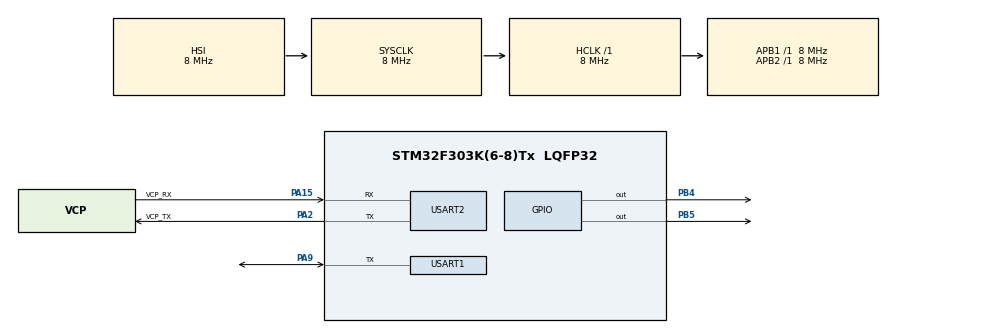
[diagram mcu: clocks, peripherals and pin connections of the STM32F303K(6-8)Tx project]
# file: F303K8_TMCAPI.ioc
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Mcu.Family=STM32F3
Mcu.Name=STM32F303K(6-8)Tx
Mcu.Package=LQFP32
NVIC.PriorityGroup=NVIC_PRIORITYGROUP_4
PA13.GPIO_Label=SWDIO
PA13.Mode=Serial_Wire
PA13.Signal=SYS_JTMS-SWDIO
PA14.GPIO_Label=SWCLK
PA14.Mode=Serial_Wire
PA14.Signal=SYS_JTCK-SWCLK
PA15.GPIO_Label=VCP_RX
PA15.Mode=Asynchronous
PA15.Signal=USART2_RX
PA2.GPIO_Label=VCP_TX
PA2.Mode=Asynchronous
PA2.Signal=USART2_TX
PA9.Mode=Half_duplex(single_wire_mode)
PA9.Signal=USART1_TX
PB4.Signal=GPIO_Output
PB5.Signal=GPIO_Output
PF0\ /\ OSC_IN.GPIO_Label=MCO
PF0\ /\ OSC_IN.Mode=HSE-External-Clock-Source
PF0\ /\ OSC_IN.Signal=RCC_OSC_IN
ProjectManager.HeapSize=0x200
ProjectManager.StackSize=0x400
ProjectManager.TargetToolchain=STM32CubeIDE
RCC.AHBFreq_Value=8000000
RCC.APB1Freq_Value=8000000
RCC.APB2Freq_Value=8000000
RCC.CortexFreq_Value=8000000
RCC.HSE_VALUE=8000000
RCC.HSI_VALUE=8000000
RCC.SYSCLKFreq_VALUE=8000000
USART1.VirtualMode-Half_duplex(single_wire_mode)=VM_ASYNC
USART2.VirtualMode-Asynchronous=VM_ASYNC
board=NUCLEO-F303K8

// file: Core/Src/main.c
/* USER CODE BEGIN Header */
/**
  ******************************************************************************
  * @file           : main.c
  * @brief          : Main program body
  ******************************************************************************
  * @attention
  *
  * Copyright (c) 2022 STMicroelectronics.
  * All rights reserved.
  *
  * This software is licensed under terms that can be found in the LICENSE file
  * in the root directory of this software component.
  * If no LICENSE file comes with this software, it is provided AS-IS.
  *
  ******************************************************************************
  */
/* USER CODE END Header */
#include "main.h"

/* USER CODE BEGIN Includes */
#include <stdio.h>
#include "tmc/ic/TMC2209/TMC2209.h"
/* USER CODE END Includes */

/* USER CODE BEGIN PTD */
#define TMC2209_CRC(data, length) tmc_CRC8(data, length, 1)

/* USER CODE END PTD */

 UART_HandleTypeDef huart1;
UART_HandleTypeDef huart2;

/* USER CODE BEGIN PV */
TMC2209TypeDef TMC2209; //TMC2209の設定などの定義
ConfigurationTypeDef TMC2209_config; //TMC2209の設定
/* USER CODE END PV */

void SystemClock_Config(void);
static void MX_GPIO_Init(void);
static void MX_USART2_UART_Init(void);
static void MX_USART1_UART_Init(void);
/* USER CODE BEGIN PFP */
static void periodicJob(uint32_t tick);
static uint8_t reset(void);
static uint8_t restore(void);
void TMC2209_INIT(void){
	StepDir_setPins(0, Pins.STEP, Pins.DIR, Pins.DIAG);
}
/* USER CODE END PFP */

/* USER CODE BEGIN 0 */
{
	//set your uart read write
	//UART_readWrite(channelToUART(channel), data, writeLength, readLength);
	HAL_HalfDuplex_EnableTransmitter(&huart1);
	HAL_UART_Transmit(&huart1, data, writeLength,3000);

	if(readLength > 0){
		HAL_HalfDuplex_EnableReceiver(&huart1);
		HAL_UART_Receive(&huart1, data, readLength, 3000);
	}
}

uint8_t tmc2209_CRC8(uint8_t *data, size_t length)
{
	return TMC2209_CRC(data, length);
}

static void periodicJob(uint32_t tick)
{

	tmc2209_periodicJob(&TMC2209, tick);

	//StepDir_periodicJob(0);
}

static uint8_t reset()
{
	//StepDir_init(STEPDIR_PRECISION);
	//StepDir_setPins(0, Pins.STEP, Pins.DIR, Pins.DIAG);

	return tmc2209_reset(&TMC2209);
}

static uint8_t restore()
{
	return tmc2209_restore(&TMC2209);
}

void TMC2209_INIT()
{
	tmc_fillCRC8Table(0x07, true, 1);

	TMC2209_config.reset = reset;
	TMC2209_config.restore = restore;
	tmc2209_init(&TMC2209, 0, 0, &TMC2209_config, &tmc2209_defaultRegisterResetState[0]);

	//restore();
}
/* USER CODE END 0 */

int main(void)
{
  /* USER CODE BEGIN 1 */
	setbuf(stdout, NULL);
  /* USER CODE END 1 */

  /* MCU Configuration--------------------------------------------------------*/

  /* Reset of all peripherals, Initializes the Flash interface and the Systick. */
  HAL_Init();

  /* Configure the system clock */
  SystemClock_Config();

  /* Initialize all configured peripherals */
  MX_GPIO_Init();
  MX_USART2_UART_Init();
  MX_USART1_UART_Init();
  /* USER CODE BEGIN 2 */
  //int getserial=0;
    TMC2209_INIT();
    printf("Hello\r\n");

    int i;
     char rxbuf[1];
     char start[] ="1:front,2:back\r\n";
     char front[] ="front turn\r\n";
     char back[] ="back turn\r\n";
     char nonans[] ="Not Understand \r\n";

     HAL_UART_Transmit(&huart2,(uint8_t *)start,sizeof(start),3000);

  /* USER CODE END 2 */

  /* Infinite loop */
  while (1)
  {

    /* USER CODE BEGIN 3 */
	  uint32_t value = 0;
	  	  HAL_UART_Receive(&huart2,(uint8_t *)rxbuf, sizeof(rxbuf), 100);
	  	  tmc2209_writeInt(&TMC2209, TMC2209_TSTEP, 16);

	  	  value = tmc2209_readInt(&TMC2209, TMC2209_FACTORY_CONF);
	  	  //printf("Hello\r\n");
	  	  //printf("Goodbye\r\n");
	  	  periodicJob(HAL_GetTick());
	  	  //HAL_UART_Transmit(&huart2,(uint8_t *)value,sizeof(value),3000);
	  	  printf("FACTORY_CONF: %ld\r\n", value);
	  	  //HAL_UART_Transmit(&huart2,(uint8_t *)value,sizeof(value),3000);
	  	  //getserial=value;

	  	  value = tmc2209_readInt(&TMC2209, TMC2209_SG_RESULT);
	  	  //periodicJob(HAL_GetTick());
	  	  //tmc2209_writeInt(&TMC2209, );
	  	  printf("SG_RESULT: %ld\r\n", value);
	  	  tmc2209_writeInt(&TMC2209, TMC2209_TSTEP, 16);
	  	  value = tmc2209_readInt(&TMC2209, TMC2209_TSTEP);
	  	  printf("TMC2209_TSTE: %ld\r\n", value);
	  	  tmc2209_writeInt(&TMC2209, 0x22, 20000);
	  	  value = tmc2209_readInt(&TMC2209, TMC2209_VACTUAL);
	  	  printf("TMC2209_VACTUAL: %ld\r\n", value);
	  	  value = tmc2209_readInt(&TMC2209, TMC2209_CHOPCONF);
	  	  	  printf("CHOPCONF: %ld\r\n", value);
	  	  value = tmc2209_readInt(&TMC2209, TMC2209_IOIN);
	  	  	  printf("TMC2209_IOIN: %ld\r\n", value);

	  	  	  tmc2209_writeInt(&TMC2209, TMC2209_ENN_MASK, 0);
  }
  /* USER CODE END 3 */
}

void SystemClock_Config(void)
{
  RCC_OscInitTypeDef RCC_OscInitStruct = {0};
  RCC_ClkInitTypeDef RCC_ClkInitStruct = {0};
  RCC_PeriphCLKInitTypeDef PeriphClkInit = {0};

  /** Initializes the RCC Oscillators according to the specified parameters
  * in the RCC_OscInitTypeDef structure.
  */
  RCC_OscInitStruct.OscillatorType = RCC_OSCILLATORTYPE_HSI;
  RCC_OscInitStruct.HSIState = RCC_HSI_ON;
  RCC_OscInitStruct.HSICalibrationValue = RCC_HSICALIBRATION_DEFAULT;
  RCC_OscInitStruct.PLL.PLLState = RCC_PLL_NONE;
  if (HAL_RCC_OscConfig(&RCC_OscInitStruct) != HAL_OK)
  {
    Error_Handler();
  }

  /** Initializes the CPU, AHB and APB buses clocks
  */
  RCC_ClkInitStruct.ClockType = RCC_CLOCKTYPE_HCLK|RCC_CLOCKTYPE_SYSCLK
                              |RCC_CLOCKTYPE_PCLK1|RCC_CLOCKTYPE_PCLK2;
  RCC_ClkInitStruct.SYSCLKSource = RCC_SYSCLKSOURCE_HSI;
  RCC_ClkInitStruct.AHBCLKDivider = RCC_SYSCLK_DIV1;
  RCC_ClkInitStruct.APB1CLKDivider = RCC_HCLK_DIV1;
  RCC_ClkInitStruct.APB2CLKDivider = RCC_HCLK_DIV1;

  if (HAL_RCC_ClockConfig(&RCC_ClkInitStruct, FLASH_LATENCY_0) != HAL_OK)
  {
    Error_Handler();
  }
  PeriphClkInit.PeriphClockSelection = RCC_PERIPHCLK_USART1;
  PeriphClkInit.Usart1ClockSelection = RCC_USART1CLKSOURCE_PCLK1;
  if (HAL_RCCEx_PeriphCLKConfig(&PeriphClkInit) != HAL_OK)
  {
    Error_Handler();
  }
}

static void MX_USART1_UART_Init(void)
{

  huart1.Instance = USART1;
  huart1.Init.BaudRate = 38400;
  huart1.Init.WordLength = UART_WORDLENGTH_8B;
  huart1.Init.StopBits = UART_STOPBITS_1;
  huart1.Init.Parity = UART_PARITY_NONE;
  huart1.Init.Mode = UART_MODE_TX_RX;
  huart1.Init.HwFlowCtl = UART_HWCONTROL_NONE;
  huart1.Init.OverSampling = UART_OVERSAMPLING_16;
  huart1.Init.OneBitSampling = UART_ONE_BIT_SAMPLE_DISABLE;
  huart1.AdvancedInit.AdvFeatureInit = UART_ADVFEATURE_NO_INIT;
  if (HAL_HalfDuplex_Init(&huart1) != HAL_OK)
  {
    Error_Handler();
  }

}

static void MX_USART2_UART_Init(void)
{

  huart2.Instance = USART2;
  huart2.Init.BaudRate = 38400;
  huart2.Init.WordLength = UART_WORDLENGTH_8B;
  huart2.Init.StopBits = UART_STOPBITS_1;
  huart2.Init.Parity = UART_PARITY_NONE;
  huart2.Init.Mode = UART_MODE_TX_RX;
  huart2.Init.HwFlowCtl = UART_HWCONTROL_NONE;
  huart2.Init.OverSampling = UART_OVERSAMPLING_16;
  huart2.Init.OneBitSampling = UART_ONE_BIT_SAMPLE_DISABLE;
  huart2.AdvancedInit.AdvFeatureInit = UART_ADVFEATURE_NO_INIT;
  if (HAL_UART_Init(&huart2) != HAL_OK)
  {
    Error_Handler();
  }

}

static void MX_GPIO_Init(void)
{
  GPIO_InitTypeDef GPIO_InitStruct = {0};

  /* GPIO Ports Clock Enable */
  __HAL_RCC_GPIOF_CLK_ENABLE();
  __HAL_RCC_GPIOA_CLK_ENABLE();
  __HAL_RCC_GPIOB_CLK_ENABLE();

  /*Configure GPIO pin Output Level */
  HAL_GPIO_WritePin(GPIOB, GPIO_PIN_4|GPIO_PIN_5, GPIO_PIN_RESET);

  /*Configure GPIO pins : PB4 PB5 */
  GPIO_InitStruct.Pin = GPIO_PIN_4|GPIO_PIN_5;
  GPIO_InitStruct.Mode = GPIO_MODE_OUTPUT_PP;
  GPIO_InitStruct.Pull = GPIO_NOPULL;
  GPIO_InitStruct.Speed = GPIO_SPEED_FREQ_LOW;
  HAL_GPIO_Init(GPIOB, &GPIO_InitStruct);

}

/* USER CODE BEGIN 4 */
int _write(int file, char *ptr, int len)
{
  HAL_UART_Transmit(&huart2,(uint8_t *)ptr,len,10);
  return len;
}
/* USER CODE END 4 */

void Error_Handler(void)
{
  __disable_irq();
  while (1)
  {
  }
}
